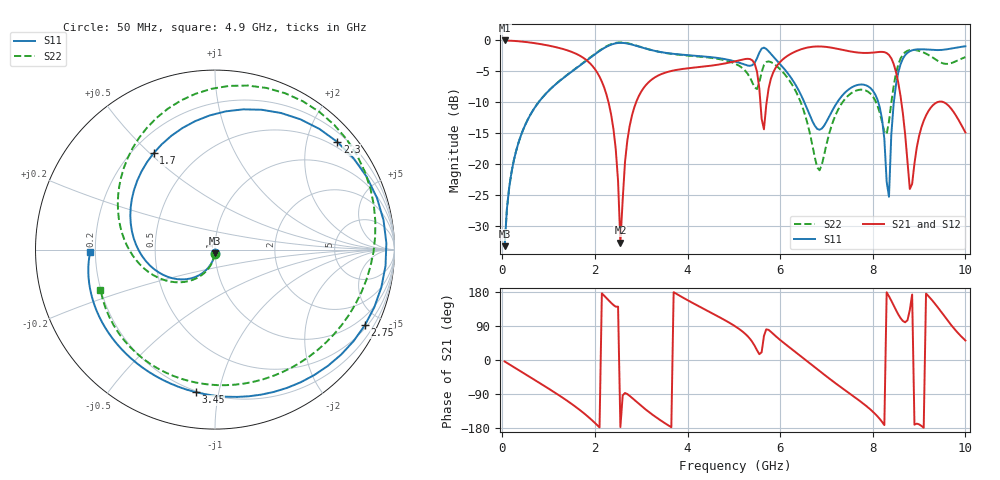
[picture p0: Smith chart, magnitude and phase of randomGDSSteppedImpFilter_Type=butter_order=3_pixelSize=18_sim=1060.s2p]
! freq	dB(S11)	phase(S11)	dB(S12)	phase(S12)
!  dB(S21)	phase(S21)	dB(S22)	phase(S22)
!S-par simulation data
#  GHz  S  DB  R 50
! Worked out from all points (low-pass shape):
!   200 points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, 50 MHz to 10 GHz, reference 50 ohm
!   highest |S21| = -0.01 dB at 50 MHz (marker M1); lowest = -32.7 dB at 2.55 GHz (marker M2)
!   |S21| within 3 dB of the highest: start of sweep to 1.786 GHz; 6.067 GHz to 8.406 GHz (2.339 GHz wide, 32.3 % of centre) (the widest 2 of 3)
!   lowest |S11| = -33.3 dB at 50 MHz (marker M3), VSWR 1.04, Z = 49.8 - j2.16 ohm
!   |S11| at or under -10 dB: start of sweep to 784 MHz; 6.523 GHz to 7.233 GHz (710.3 MHz wide, 10.3 % of centre); 8.119 GHz to 8.455 GHz (336.2 MHz wide, 4.06 % of centre)
!   |S22| runs from -33.2 to -0.3 dB; largest |S21 - S12| = 0
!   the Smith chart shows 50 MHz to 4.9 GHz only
!   S11 on the Smith chart (normalised r, x): 50 MHz: 1.00, -0.04; 1.7 GHz: 0.28, +0.51; 2.3 GHz: 0.38, +2.60; 2.75 GHz: 0.61, -4.11; 3.45 GHz: 0.19, -0.86; 4.9 GHz: 0.18, -0.01
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0.05  -33.25 -93.8  -0.01 -3.8  -0.01 -3.8  -33.21 -93.5
0.45  -14.44 -126.1  -0.21 -33.9  -0.21 -33.9  -14.44 -122.8
1.7  -3.92 122.6  -2.58 -134.4  -2.58 -134.4  -3.88 146.5
1.75  -3.64 116.9  -2.82 -139.3  -2.82 -139.3  -3.60 142.3
2.3  -0.84 41.3  -10.19 156.9  -10.19 156.9  -0.77 85.0
2.55  -0.40 2.1  -32.69 -177.0  -32.69 -177.0  -0.33 52.8
2.75  -0.58 -26.8  -13.84 -94.6  -13.84 -94.6  -0.53 27.6
3.4  -1.85 -93.8  -5.56 -157.8  -5.56 -157.8  -1.87 -39.8
3.45  -1.92 -97.7  -5.40 -161.9  -5.40 -161.9  -1.94 -44.3
4.9  -3.16 -179.0  -3.59 98.6  -3.59 98.6  -3.40 -160.8
5.05  -3.45 174.8  -3.33 87.2  -3.33 87.2  -3.84 -176.5
5.55  -1.98 166.2  -7.75 15.3  -7.75 15.3  -6.81 -10.0
5.65  -1.16 151.1  -14.37 63.5  -14.37 63.5  -3.99 -86.1
5.9  -3.01 125.5  -4.45 63.3  -4.45 63.3  -4.00 -165.5
6.7  -13.11 103.7  -1.02 -14.4  -1.02 -14.4  -17.08 67.4
7.6  -7.38 125.0  -1.89 -97.3  -1.89 -97.3  -8.24 -147.9
8.35  -25.27 -178.4  -2.35 168.1  -2.35 168.1  -13.09 -140.9
8.5  -7.22 179.2  -5.06 132.0  -5.06 132.0  -5.37 -146.1
8.8  -1.75 124.8  -24.01 132.0  -24.01 132.0  -1.56 155.0
9.15  -1.46 92.5  -12.13 175.3  -12.13 175.3  -2.14 91.6
9.5  -1.53 73.7  -9.91 123.4  -9.91 123.4  -3.67 -0.1
10  -0.95 49.9  -14.88 51.5  -14.88 51.5  -2.69 -126.7
